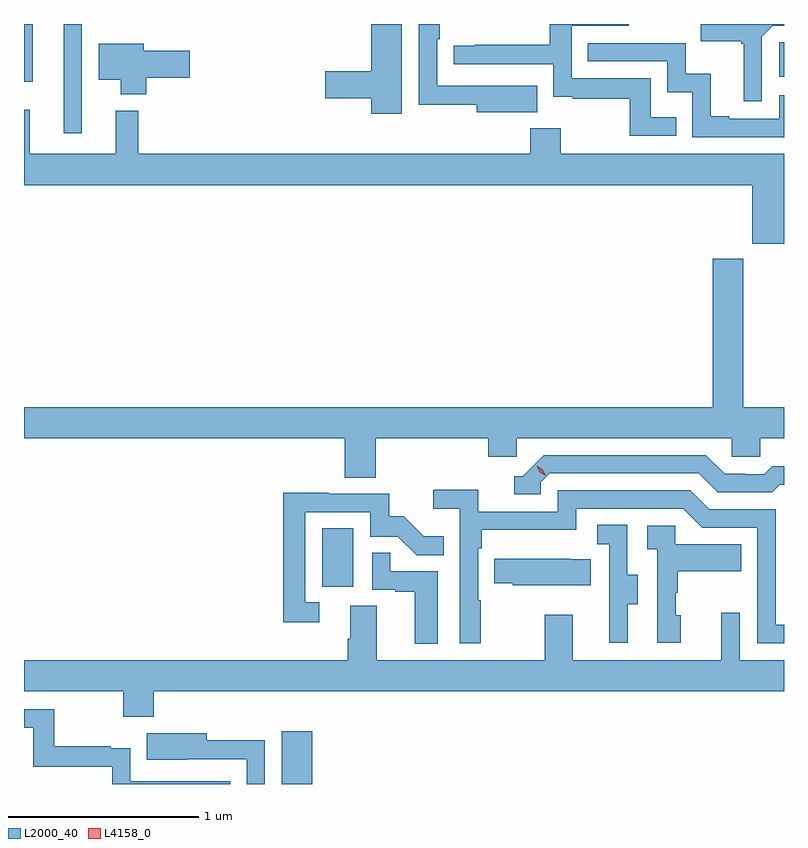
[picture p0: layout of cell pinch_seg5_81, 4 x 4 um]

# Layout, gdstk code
import gdstk
lib = gdstk.Library(unit=1e-6, precision=1e-09)
def R(c, l, rs):  # rectangles x0, y0, x1, y1
    for r in rs: c.add(gdstk.rectangle(r[:2], r[2:], *l))
def P(c, l, *ps):  # polygons
    for p in ps: c.add(gdstk.Polygon(p, *l))
L2000_40 = (2000, 40)
L4158_0 = (4158, 0)

pinch_seg5_81 = lib.new_cell('pinch_seg5_81')
R(pinch_seg5_81, L2000_40, [(1024.025,893.568,1024.186,893.845), (1024.238,894.606,1024.402,894.913), (1022.876,896.994,1022.973,897.568), (1022.668,897.263,1022.713,897.568), (1026.642,897.291,1026.668,897.471)])
P(pinch_seg5_81, L2000_40, [(1026.101,897.076),(1025.967,897.076),(1025.967,897.282),(1025.55,897.282),(1025.55,897.558),(1025.851,897.558),(1025.851,897.568),(1025.434,897.568),(1025.434,897.458),(1025.041,897.458),(1025.041,897.453),(1024.929,897.453),(1024.929,897.357),(1025.454,897.357),(1025.454,897.185),(1025.557,897.185),(1025.557,897.174),(1025.856,897.174),(1025.856,896.979),(1026.101,896.979)],
  [(1024.657,897.568),(1024.496,897.568),(1024.496,897.32),(1024.254,897.32),(1024.254,897.178),(1024.496,897.178),(1024.496,897.096),(1024.657,897.096)],
  [(1026.552,897.501),(1026.609,897.558),(1026.668,897.558),(1026.668,897.568),(1026.231,897.568),(1026.231,897.476),(1026.444,897.476),(1026.444,897.465),(1026.455,897.465),(1026.455,897.162),(1026.552,897.162)],
  [(1025.369,897.244),(1025.155,897.244),(1025.155,897.243),(1024.842,897.243),(1024.842,897.488),(1024.856,897.488),(1024.856,897.568),(1024.746,897.568),(1024.746,897.142),(1025.051,897.142),(1025.051,897.104),(1025.369,897.104)],
  [(1026.668,897.192),(1026.642,897.192),(1026.642,897.069),(1026.379,897.069),(1026.379,897.082),(1026.283,897.082),(1026.283,897.307),(1026.15,897.307),(1026.15,897.468),(1025.635,897.468),(1025.635,897.372),(1026.054,897.372),(1026.054,897.209),(1026.186,897.209),(1026.186,896.973),(1026.668,896.973)],
  [(1023.311,897.286),(1023.541,897.286),(1023.541,897.428),(1023.298,897.428),(1023.298,897.463),(1023.062,897.463),(1023.062,897.275),(1023.176,897.275),(1023.176,897.197),(1023.311,897.197)],
  [(1026.668,896.884),(1025.493,896.884),(1025.493,897.019),(1025.333,897.019),(1025.333,896.884),(1023.269,896.884),(1023.269,897.112),(1023.152,897.112),(1023.152,896.884),(1022.699,896.884),(1022.699,897.118),(1022.668,897.118),(1022.668,896.72),(1026.5,896.72),(1026.5,896.411),(1026.668,896.411)],
  [(1024.52,895.388),(1025.111,895.388),(1025.111,895.29),(1025.262,895.29),(1025.262,895.388),(1026.393,895.388),(1026.393,895.29),(1026.543,895.29),(1026.543,895.388),(1026.668,895.388),(1026.668,895.552),(1026.453,895.552),(1026.453,896.332),(1026.293,896.332),(1026.293,895.552),(1022.668,895.552),(1022.668,895.388),(1024.355,895.388),(1024.355,895.18),(1024.52,895.18)],
  [(1025.388,895.155),(1025.436,895.203),(1026.219,895.203),(1026.318,895.104),(1026.607,895.104),(1026.646,895.143),(1026.668,895.143),(1026.668,895.24),(1026.607,895.24),(1026.565,895.197),(1026.462,895.197),(1026.462,895.2),(1026.355,895.2),(1026.256,895.299),(1025.403,895.299),(1025.292,895.188),(1025.249,895.188),(1025.249,895.092),(1025.388,895.092)],
  [(1025.071,894.536),(1025.058,894.536),(1025.058,894.809),(1025.078,894.809),(1025.078,894.905),(1025.574,894.905),(1025.574,895.017),(1026.138,895.017),(1026.237,894.918),(1026.528,894.918),(1026.528,894.309),(1026.668,894.309),(1026.668,894.405),(1026.624,894.405),(1026.624,895.014),(1026.274,895.014),(1026.175,895.113),(1025.478,895.113),(1025.478,895.002),(1025.06,895.002),(1025.06,895.118),(1024.821,895.118),(1024.821,895.016),(1024.962,895.016),(1024.962,894.309),(1025.071,894.309)],
  [(1024.222,894.525),(1024.149,894.525),(1024.149,894.999),(1024.491,894.999),(1024.491,894.87),(1024.636,894.87),(1024.734,894.772),(1024.877,894.772),(1024.877,894.871),(1024.773,894.871),(1024.666,894.978),(1024.59,894.978),(1024.59,895.095),(1024.271,895.095),(1024.271,895.1),(1024.033,895.1),(1024.033,894.42),(1024.222,894.42)],
  [(1025.845,894.514),(1025.899,894.514),(1025.899,894.669),(1025.844,894.669),(1025.844,894.932),(1025.685,894.932),(1025.685,894.829),(1025.748,894.829),(1025.748,894.525),(1025.747,894.525),(1025.747,894.312),(1025.845,894.312)],
  [(1026.124,894.456),(1026.099,894.456),(1026.099,894.575),(1026.109,894.575),(1026.109,894.689),(1026.443,894.689),(1026.443,894.829),(1026.096,894.829),(1026.096,894.927),(1025.949,894.927),(1025.949,894.803),(1026,894.803),(1026,894.312),(1026.124,894.312)],
  [(1024.846,894.687),(1024.595,894.687),(1024.595,894.785),(1024.5,894.785),(1024.5,894.591),(1024.621,894.591),(1024.621,894.579),(1024.724,894.579),(1024.724,894.305),(1024.846,894.305)],
  [(1025.651,894.751),(1025.543,894.751),(1025.543,894.754),(1025.143,894.754),(1025.143,894.625),(1025.241,894.625),(1025.241,894.614),(1025.651,894.614)],
  [(1023.35,894.056),(1026.668,894.056),(1026.668,894.22),(1026.435,894.22),(1026.435,894.469),(1026.338,894.469),(1026.338,894.22),(1025.557,894.22),(1025.557,894.46),(1025.41,894.46),(1025.41,894.22),(1024.525,894.22),(1024.525,894.506),(1024.385,894.506),(1024.385,894.332),(1024.373,894.332),(1024.373,894.22),(1022.668,894.22),(1022.668,894.056),(1023.19,894.056),(1023.19,893.921),(1023.35,893.921)],
  [(1023.754,893.583),(1023.228,893.583),(1023.228,893.755),(1023.125,893.755),(1023.125,893.767),(1022.827,893.767),(1022.827,893.961),(1022.668,893.961),(1022.668,893.864),(1022.716,893.864),(1022.716,893.658),(1023.132,893.658),(1023.132,893.568),(1023.754,893.568)],
  [(1023.936,893.798),(1023.631,893.798),(1023.631,893.836),(1023.313,893.836),(1023.313,893.696),(1023.527,893.696),(1023.527,893.697),(1023.84,893.697),(1023.84,893.568),(1023.936,893.568)])
P(pinch_seg5_81, L4158_0, [(1025.413,895.19),(1025.382,895.21),(1025.367,895.243),(1025.367,895.243),(1025.367,895.243),(1025.397,895.223),(1025.413,895.19),(1025.413,895.19)])

lib.write_gds('pinch_seg5_81.gds')
